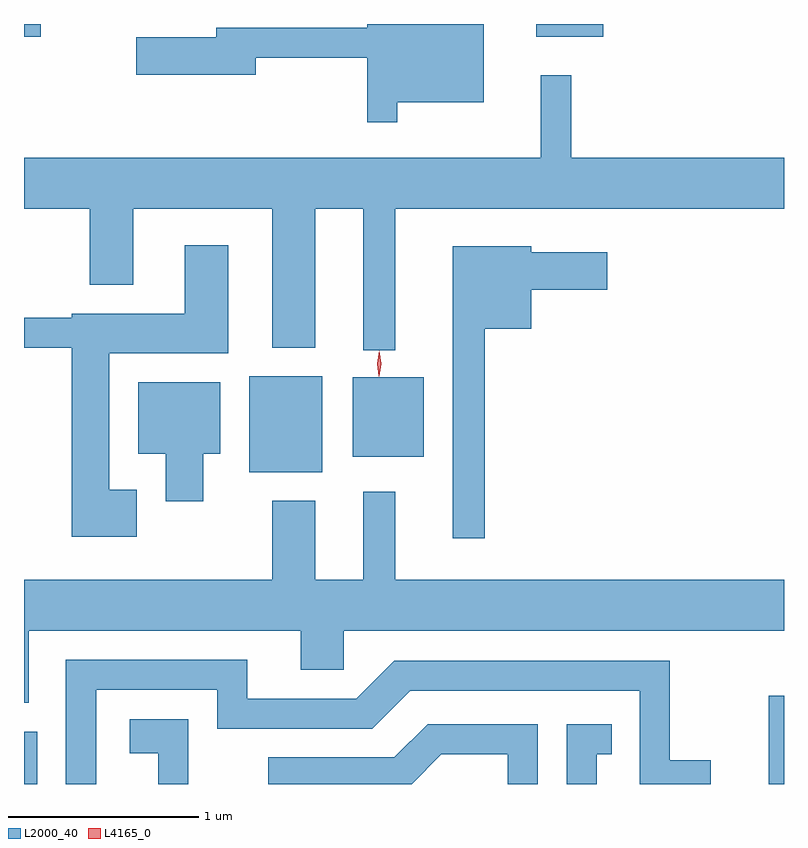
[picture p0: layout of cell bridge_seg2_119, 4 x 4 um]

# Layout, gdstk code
import gdstk
lib = gdstk.Library(unit=1e-6, precision=1e-09)
def R(c, l, rs):  # rectangles x0, y0, x1, y1
    for r in rs: c.add(gdstk.rectangle(r[:2], r[2:], *l))
def P(c, l, *ps):  # polygons
    for p in ps: c.add(gdstk.Polygon(p, *l))
L2000_40 = (2000, 40)
L4165_0 = (4165, 0)

bridge_seg2_119 = lib.new_cell('bridge_seg2_119')
R(bridge_seg2_119, L2000_40, [(907.685,1045.289,907.754,1045.564), (911.606,1045.289,911.685,1045.754), (908.871,1046.931,909.254,1047.434), (909.416,1047.011,909.789,1047.429), (907.685,1049.221,907.774,1049.289), (910.381,1049.221,910.734,1049.289)])
P(bridge_seg2_119, L2000_40, [(909.649,1048.876),(910.104,1048.876),(910.104,1049.289),(909.491,1049.289),(909.491,1049.269),(908.696,1049.269),(908.696,1049.219),(908.276,1049.219),(908.276,1049.021),(908.904,1049.021),(908.904,1049.111),(909.491,1049.111),(909.491,1048.773),(909.649,1048.773)],
  [(909.639,1048.316),(911.685,1048.316),(911.685,1048.584),(910.564,1048.584),(910.564,1049.018),(910.406,1049.018),(910.406,1048.584),(907.685,1048.584),(907.685,1048.316),(908.031,1048.316),(908.031,1047.916),(908.259,1047.916),(908.259,1048.316),(908.991,1048.316),(908.991,1047.586),(909.219,1047.586),(909.219,1048.316),(909.471,1048.316),(909.471,1047.573),(909.639,1047.573)],
  [(908.279,1046.839),(908.134,1046.839),(908.134,1047.556),(908.759,1047.556),(908.759,1048.124),(908.531,1048.124),(908.531,1047.764),(907.936,1047.764),(907.936,1047.744),(907.685,1047.744),(907.685,1047.586),(907.936,1047.586),(907.936,1046.591),(908.279,1046.591)],
  [(910.109,1047.686),(910.354,1047.686),(910.354,1047.891),(910.754,1047.891),(910.754,1048.089),(910.354,1048.089),(910.354,1048.119),(909.941,1048.119),(909.941,1046.583),(910.109,1046.583)],
  [(908.629,1047.026),(908.719,1047.026),(908.719,1047.404),(908.286,1047.404),(908.286,1047.026),(908.431,1047.026),(908.431,1046.776),(908.629,1046.776)],
  [(907.709,1046.096),(909.141,1046.096),(909.141,1045.891),(909.369,1045.891),(909.369,1046.096),(911.685,1046.096),(911.685,1046.364),(909.639,1046.364),(909.639,1046.828),(909.471,1046.828),(909.471,1046.364),(909.219,1046.364),(909.219,1046.779),(908.991,1046.779),(908.991,1046.364),(907.685,1046.364),(907.685,1045.716),(907.709,1045.716)],
  [(908.064,1045.786),(908.701,1045.786),(908.701,1045.581),(909.517,1045.581),(909.717,1045.781),(910.926,1045.781),(910.926,1045.289),(911.299,1045.289),(911.299,1045.414),(911.084,1045.414),(911.084,1045.939),(909.634,1045.939),(909.434,1045.739),(908.859,1045.739),(908.859,1045.944),(907.906,1045.944),(907.906,1045.289),(908.064,1045.289)],
  [(908.549,1045.629),(908.241,1045.629),(908.241,1045.451),(908.391,1045.451),(908.391,1045.289),(908.549,1045.289)],
  [(909.882,1045.446),(910.231,1045.446),(910.231,1045.289),(910.389,1045.289),(910.389,1045.604),(909.809,1045.604),(909.634,1045.429),(908.971,1045.429),(908.971,1045.289),(909.725,1045.289)],
  [(910.699,1045.446),(910.778,1045.446),(910.778,1045.604),(910.541,1045.604),(910.541,1045.289),(910.699,1045.289)])
P(bridge_seg2_119, L4165_0, [(909.553,1047.434),(909.544,1047.502),(909.554,1047.57),(909.555,1047.57),(909.555,1047.57),(909.564,1047.502),(909.554,1047.434),(909.554,1047.434)],
  [(909.556,1047.438),(909.556,1047.438),(909.546,1047.502),(909.555,1047.566),(909.555,1047.567),(909.556,1047.566),(909.565,1047.502),(909.556,1047.438)])

lib.write_gds('bridge_seg2_119.gds')
